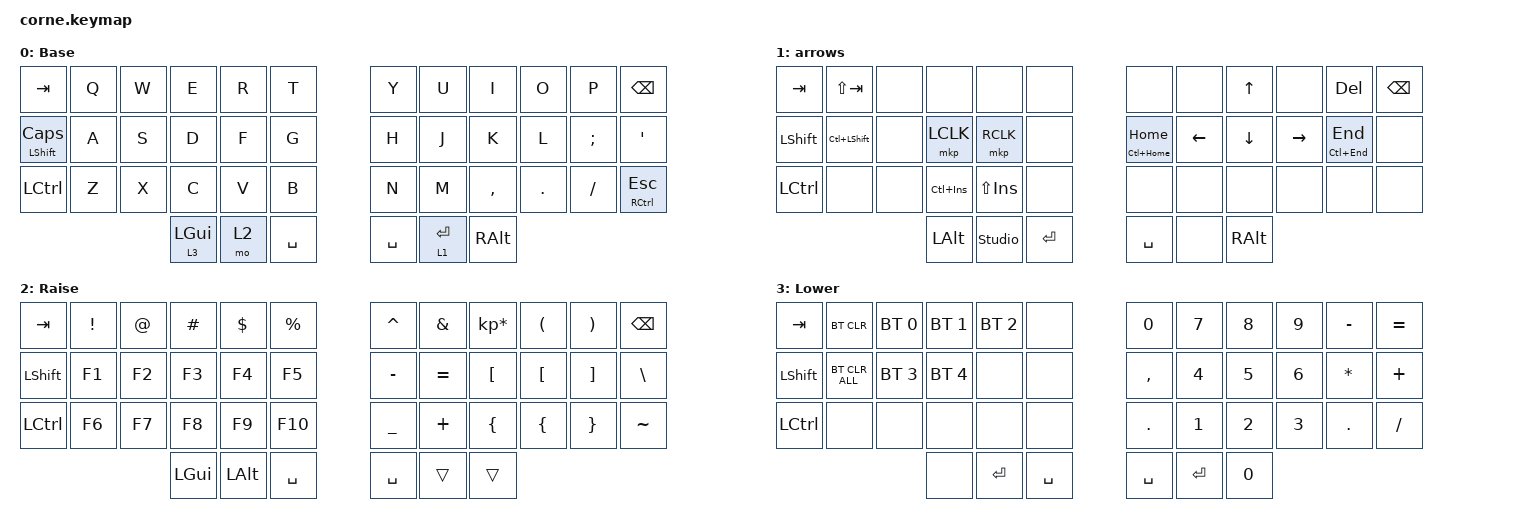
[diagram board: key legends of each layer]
/*
 * Copyright (c) 2020 The ZMK Contributors
 *
 * SPDX-License-Identifier: MIT
 */

#include <behaviors.dtsi>
#include <dt-bindings/zmk/bt.h>
#include <dt-bindings/zmk/keys.h>
#include <dt-bindings/zmk/mouse.h>

/ {
    keymap {
        compatible = "zmk,keymap";

        default_layer {
            // -----------------------------------------------------------------------------------------
            // |  TAB |  Q  |  W  |  E  |  R  |  T  |   |  Y  |  U   |  I  |  O  |  P  | BKSP |
            // | CTRL |  A  |  S  |  D  |  F  |  G  |   |  H  |  J   |  K  |  L  |  ;  |  '   |
            // | SHFT |  Z  |  X  |  C  |  V  |  B  |   |  N  |  M   |  ,  |  .  |  /  | ESC  |
            //                    | GUI | LWR | SPC |   | ENT | RSE  | ALT |

            display-name = "Base";
            bindings = <
&kp TAB                  &kp Q  &kp W  &kp E           &kp R  &kp T        &kp Y      &kp U        &kp I      &kp O    &kp P     &kp BSPC
&mt LEFT_SHIFT CAPSLOCK  &kp A  &kp S  &kp D           &kp F  &kp G        &kp H      &kp J        &kp K      &kp L    &kp SEMI  &kp SQT
&kp LEFT_CONTROL         &kp Z  &kp X  &kp C           &kp V  &kp B        &kp N      &kp M        &kp COMMA  &kp DOT  &kp FSLH  &mt RIGHT_CONTROL ESCAPE
                                       &lt 3 LEFT_GUI  &mo 2  &kp SPACE    &kp SPACE  &lt 1 ENTER  &kp RALT
            >;
        };

        arrows {
            bindings = <
&kp TAB           &kp LS(TAB)    &none  &none         &none        &none        &none              &none     &kp UP         &none      &kp DELETE       &kp BSPC
&kp LEFT_SHIFT    &kp LC(LSHFT)  &none  &mkp LCLK     &mkp RCLK    &none        &mt LC(HOME) HOME  &kp LEFT  &kp DOWN       &kp RIGHT  &mt LC(END) END  &none
&kp LEFT_CONTROL  &none          &none  &kp LC(INS)   &kp LS(INS)  &none        &none              &none     &none          &none      &none            &none
                                        &kp LEFT_ALT  &studio_unlock        &kp ENTER    &kp SPACE          &none     &kp RIGHT_ALT
            >;
        };

        raise_layer {
            // -----------------------------------------------------------------------------------------
            // |  TAB |  !  |  @  |  #  |  $  |  %  |   |  ^  |  &  |  *  |  (  |  )  | BKSP |
            // | CTRL |     |     |     |     |     |   |  -  |  =  |  [  |  ]  |  \  |  `   |
            // | SHFT |     |     |     |     |     |   |  _  |  +  |  {  |  }  | "|" |  ~   |
            //                    | GUI |     | SPC |   | ENT |     | ALT |

            display-name = "Raise";
            bindings = <
&kp TAB           &kp EXCL  &kp AT  &kp HASH  &kp DLLR  &kp PRCNT    &kp CARET  &kp AMPS   &kp KP_MULTIPLY  &kp LPAR          &kp RPAR           &kp BSPC
&kp LEFT_SHIFT    &kp F1    &kp F2  &kp F3    &kp F4    &kp F5       &kp MINUS  &kp EQUAL  &kp LBKT         &kp LEFT_BRACKET  &kp RIGHT_BRACKET  &kp BSLH
&kp LEFT_CONTROL  &kp F6    &kp F7  &kp F8    &kp F9    &kp F10      &kp UNDER  &kp PLUS   &kp LBRC         &kp LEFT_BRACE    &kp RIGHT_BRACE    &kp TILDE
                                    &kp LGUI  &kp LALT  &kp SPACE    &kp SPACE  &trans     &trans
            >;
        };

        num_bt {
            // -----------------------------------------------------------------------------------------
            // |  TAB |  1  |  2  |  3  |  4  |  5  |   |  6  |  7  |  8  |  9  |  0  | BKSP |
            // | BTCLR| BT1 | BT2 | BT3 | BT4 | BT5 |   | LFT | DWN |  UP | RGT |     |      |
            // | SHFT |     |     |     |     |     |   |     |     |     |     |     |      |
            //                    | GUI |     | SPC |   | ENT |     | ALT |

            display-name = "Lower";
            bindings = <
&kp TAB           &bt BT_CLR      &bt BT_SEL 0  &bt BT_SEL 1  &bt BT_SEL 2  &none        &kp NUMBER_0  &kp N7   &kp N8  &kp N9  &kp MINUS   &kp EQUAL
&kp LEFT_SHIFT    &bt BT_CLR_ALL  &bt BT_SEL 3  &bt BT_SEL 4  &none         &none        &kp COMMA     &kp N4   &kp N5  &kp N6  &kp STAR    &kp PLUS
&kp LEFT_CONTROL  &none           &none         &none         &none         &none        &kp DOT       &kp N1   &kp N2  &kp N3  &kp PERIOD  &kp SLASH
                                                &none         &kp RET       &kp SPACE    &kp SPACE     &kp RET  &kp N0
            >;
        };
    };
};
